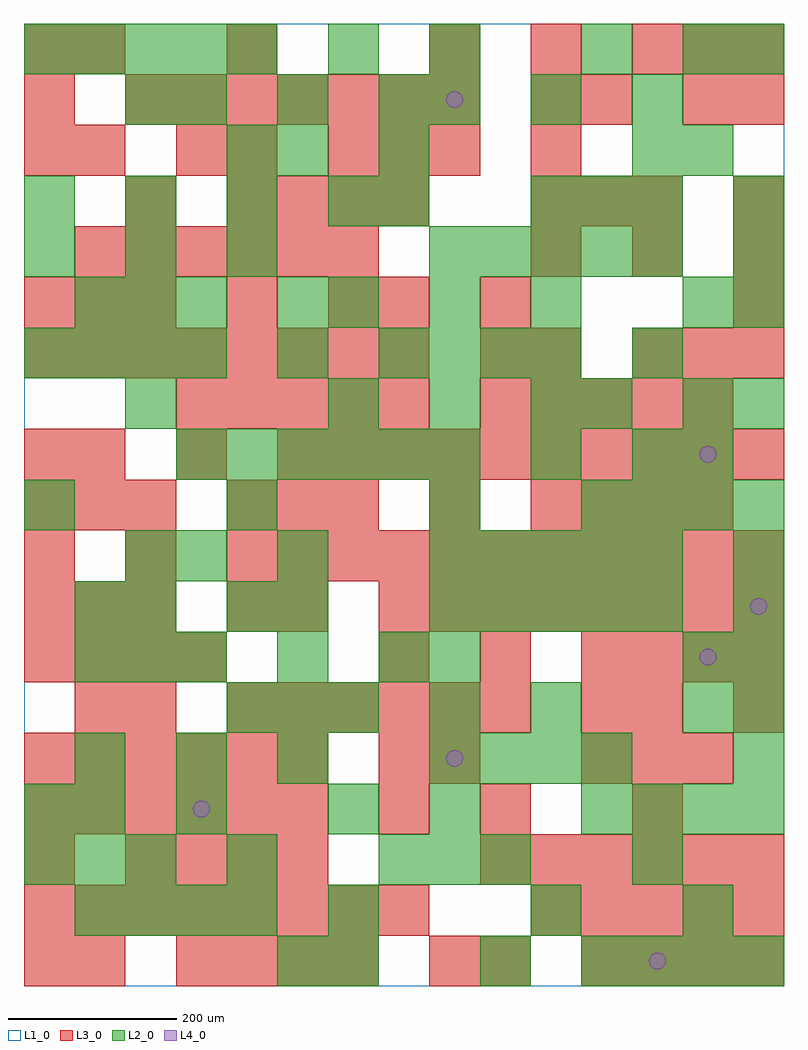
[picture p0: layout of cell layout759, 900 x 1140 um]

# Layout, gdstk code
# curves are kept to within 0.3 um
import gdstk
lib = gdstk.Library(unit=1e-6, precision=1e-09)
def R(c, l, rs):  # rectangles x0, y0, x1, y1
    for r in rs: c.add(gdstk.rectangle(r[:2], r[2:], *l))
def A(c, l, x, y, w, h, nx, ny, dx, dy):  # array of equal rectangles
    R(c, l, [(x+i*dx, y+j*dy, x+i*dx+w, y+j*dy+h) for i in range(nx) for j in range(ny)])
def P(c, l, *ps):  # polygons
    for p in ps: c.add(gdstk.Polygon(p, *l))
L1_0 = (1, 0)
L2_0 = (2, 0)
L3_0 = (3, 0)
L4_0 = (4, 0)

layout759 = lib.new_cell('layout759')
R(layout759, L1_0, [(0,0,900,1140)])
A(layout759, L2_0, 660, 0, 60, 60, 4, 2, 60, 180)
A(layout759, L2_0, 60, 60, 60, 60, 4, 1, 60, 0)
A(layout759, L2_0, 0, 120, 60, 60, 3, 1, 60, 0)
A(layout759, L2_0, 420, 120, 60, 60, 3, 1, 60, 0)
A(layout759, L2_0, 60, 240, 60, 60, 3, 1, 120, 0)
A(layout759, L2_0, 480, 240, 60, 60, 4, 1, 60, 0)
A(layout759, L2_0, 840, 240, 60, 60, 1, 5, 0, 60)
A(layout759, L2_0, 240, 300, 60, 60, 3, 1, 60, 0)
A(layout759, L2_0, 60, 360, 60, 60, 3, 2, 60, 420)
A(layout759, L2_0, 300, 360, 60, 60, 1, 3, 0, 60)
A(layout759, L2_0, 480, 420, 60, 60, 5, 2, 60, 60)
A(layout759, L2_0, 0, 540, 60, 60, 3, 1, 240, 0)
A(layout759, L2_0, 660, 540, 60, 60, 4, 1, 60, 0)
A(layout759, L2_0, 180, 600, 60, 60, 6, 1, 60, 0)
A(layout759, L2_0, 360, 660, 60, 60, 3, 2, 120, 120)
A(layout759, L2_0, 0, 720, 60, 60, 4, 1, 60, 0)
A(layout759, L2_0, 420, 720, 60, 60, 4, 1, 60, 0)
A(layout759, L2_0, 840, 780, 60, 60, 1, 3, 0, 60)
A(layout759, L2_0, 0, 840, 60, 60, 3, 1, 120, 0)
A(layout759, L2_0, 480, 840, 60, 60, 5, 1, 60, 0)
A(layout759, L2_0, 0, 900, 60, 60, 4, 1, 120, 0)
A(layout759, L2_0, 600, 900, 60, 60, 3, 1, 60, 0)
A(layout759, L2_0, 180, 1020, 60, 60, 3, 1, 120, 0)
A(layout759, L2_0, 480, 1020, 60, 60, 3, 1, 120, 0)
A(layout759, L2_0, 0, 1080, 60, 60, 5, 1, 60, 0)
R(layout759, L2_0, [(300,0,360,60), (360,0,420,60), (540,0,600,60), (360,60,420,120), (600,60,660,120), (780,60,840,120), (240,120,300,180), (720,120,780,180), (0,180,60,240), (60,180,120,240), (180,180,240,240), (360,180,420,240), (480,180,540,240), (480,300,540,360), (600,300,660,360), (780,300,840,360), (420,360,480,420), (480,360,540,420), (780,360,840,420), (60,420,120,480), (120,420,180,480), (240,420,300,480), (120,480,180,540), (180,480,240,540), (600,600,660,660), (720,600,780,660), (780,600,840,660), (120,660,180,720), (660,660,720,720), (780,660,840,720), (840,660,900,720), (300,720,360,780), (720,720,780,780), (300,780,360,840), (780,780,840,840), (420,900,480,960), (240,960,300,1020), (300,960,360,1020), (420,960,480,1020), (720,960,780,1020), (780,960,840,1020), (120,1020,180,1080), (360,1080,420,1140), (480,1080,540,1140), (660,1080,720,1140), (780,1080,840,1140), (840,1080,900,1140)])
A(layout759, L3_0, 180, 0, 60, 60, 4, 1, 60, 0)
A(layout759, L3_0, 660, 0, 60, 60, 4, 1, 60, 0)
A(layout759, L3_0, 0, 60, 60, 60, 8, 2, 60, 660)
A(layout759, L3_0, 600, 60, 60, 60, 5, 1, 60, 0)
A(layout759, L3_0, 120, 120, 60, 60, 4, 1, 60, 0)
A(layout759, L3_0, 540, 120, 60, 60, 6, 1, 60, 0)
A(layout759, L3_0, 0, 180, 60, 60, 6, 2, 60, 60)
A(layout759, L3_0, 660, 240, 60, 60, 3, 1, 60, 0)
A(layout759, L3_0, 240, 300, 60, 60, 6, 1, 60, 0)
A(layout759, L3_0, 0, 360, 60, 60, 4, 1, 60, 0)
A(layout759, L3_0, 420, 360, 60, 60, 3, 1, 120, 0)
A(layout759, L3_0, 720, 360, 60, 60, 3, 2, 60, 360)
A(layout759, L3_0, 0, 420, 60, 60, 3, 2, 60, 120)
A(layout759, L3_0, 420, 420, 60, 60, 8, 1, 60, 0)
A(layout759, L3_0, 0, 480, 60, 60, 3, 1, 120, 0)
A(layout759, L3_0, 300, 480, 60, 60, 10, 1, 60, 0)
A(layout759, L3_0, 240, 540, 60, 60, 3, 1, 60, 0)
A(layout759, L3_0, 600, 540, 60, 60, 4, 1, 60, 0)
A(layout759, L3_0, 60, 600, 60, 60, 3, 1, 120, 0)
A(layout759, L3_0, 360, 600, 60, 60, 9, 1, 60, 0)
A(layout759, L3_0, 180, 660, 60, 60, 5, 1, 60, 0)
A(layout759, L3_0, 540, 660, 60, 60, 5, 1, 60, 0)
A(layout759, L3_0, 0, 780, 60, 60, 3, 1, 60, 0)
A(layout759, L3_0, 840, 780, 60, 60, 1, 3, 0, 120)
A(layout759, L3_0, 60, 840, 60, 60, 6, 1, 60, 0)
A(layout759, L3_0, 600, 840, 60, 60, 3, 1, 120, 0)
A(layout759, L3_0, 240, 900, 60, 60, 4, 1, 60, 0)
A(layout759, L3_0, 600, 900, 60, 60, 3, 1, 60, 0)
A(layout759, L3_0, 0, 960, 60, 60, 1, 3, 0, 60)
A(layout759, L3_0, 360, 960, 60, 60, 3, 1, 60, 0)
A(layout759, L3_0, 120, 1020, 60, 60, 7, 1, 60, 0)
A(layout759, L3_0, 480, 1080, 60, 60, 3, 1, 120, 0)
R(layout759, L3_0, [(0,0,60,60), (60,0,120,60), (480,0,540,60), (540,0,600,60), (0,120,60,180), (420,180,480,240), (540,180,600,240), (720,180,780,240), (420,240,480,300), (480,240,540,300), (60,300,120,360), (120,300,180,360), (660,300,720,360), (720,300,780,360), (840,300,900,360), (240,420,300,480), (300,420,360,480), (480,540,540,600), (0,600,60,660), (540,720,600,780), (600,720,660,780), (240,780,300,840), (360,780,420,840), (420,780,480,840), (540,780,600,840), (120,900,180,960), (60,960,120,1020), (180,960,240,1020), (240,960,300,1020), (600,960,660,1020), (600,1020,660,1080), (660,1020,720,1080), (780,1020,840,1080), (60,1080,120,1140), (240,1080,300,1140), (780,1080,840,1140), (840,1080,900,1140)])
P(layout759, L4_0, [(220,210),(219.239,213.827),(217.071,217.071),(213.827,219.239),(210,220),(206.173,219.239),(202.929,217.071),(200.761,213.827),(200,210),(200.761,206.173),(202.929,202.929),(206.173,200.761),(210,200),(213.827,200.761),(217.071,202.929),(219.239,206.173)],
  [(520,270),(519.239,273.827),(517.071,277.071),(513.827,279.239),(510,280),(506.173,279.239),(502.929,277.071),(500.761,273.827),(500,270),(500.761,266.173),(502.929,262.929),(506.173,260.761),(510,260),(513.827,260.761),(517.071,262.929),(519.239,266.173)],
  [(520,1050),(519.239,1053.827),(517.071,1057.071),(513.827,1059.239),(510,1060),(506.173,1059.239),(502.929,1057.071),(500.761,1053.827),(500,1050),(500.761,1046.173),(502.929,1042.929),(506.173,1040.761),(510,1040),(513.827,1040.761),(517.071,1042.929),(519.239,1046.173)],
  [(760,30),(759.239,33.827),(757.071,37.071),(753.827,39.239),(750,40),(746.173,39.239),(742.929,37.071),(740.761,33.827),(740,30),(740.761,26.173),(742.929,22.929),(746.173,20.761),(750,20),(753.827,20.761),(757.071,22.929),(759.239,26.173)],
  [(820,390),(819.239,393.827),(817.071,397.071),(813.827,399.239),(810,400),(806.173,399.239),(802.929,397.071),(800.761,393.827),(800,390),(800.761,386.173),(802.929,382.929),(806.173,380.761),(810,380),(813.827,380.761),(817.071,382.929),(819.239,386.173)],
  [(820,630),(819.239,633.827),(817.071,637.071),(813.827,639.239),(810,640),(806.173,639.239),(802.929,637.071),(800.761,633.827),(800,630),(800.761,626.173),(802.929,622.929),(806.173,620.761),(810,620),(813.827,620.761),(817.071,622.929),(819.239,626.173)],
  [(880,450),(879.239,453.827),(877.071,457.071),(873.827,459.239),(870,460),(866.173,459.239),(862.929,457.071),(860.761,453.827),(860,450),(860.761,446.173),(862.929,442.929),(866.173,440.761),(870,440),(873.827,440.761),(877.071,442.929),(879.239,446.173)])

lib.write_gds('layout759.gds')
